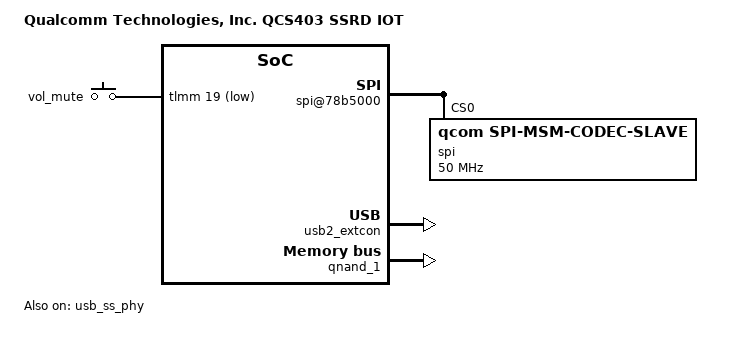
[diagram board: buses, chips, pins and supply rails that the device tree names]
/*
 * Copyright (c) 2018-2019, The Linux Foundation. All rights reserved.
 *
 * This program is free software; you can redistribute it and/or modify
 * it under the terms of the GNU General Public License version 2 and
 * only version 2 as published by the Free Software Foundation.
 *
 * This program is distributed in the hope that it will be useful,
 * but WITHOUT ANY WARRANTY; without even the implied warranty of
 * MERCHANTABILITY or FITNESS FOR A PARTICULAR PURPOSE.  See the
 * GNU General Public License for more details.
 */

/dts-v1/;

#include "qcs403.dtsi"
#include "qcs405-wsa-audio-overlay.dtsi"
#include "qcs405-circular-pca9956.dtsi"

/ {
	model = "Qualcomm Technologies, Inc. QCS403 SSRD IOT";
	compatible = "qcom,qcs403-iot", "qcom,qcs403", "qcom,iot";
	qcom,board-id = <0x010020 0x4>;

};

&soc {
	spi@78b5000 {
		status = "ok";
		spi@0 {
			compatible = "qcom,spi-msm-codec-slave";
			reg = <0>;
			spi-max-frequency = <50000000>;
		};
	};

	gpio_keys {
		vol_mute {
			gpios = <&tlmm 19 GPIO_ACTIVE_LOW>;
		};
	};
};

&qnand_1 {
	status = "ok";
};

&soc {
	usb2_extcon: usb2_extcon {
		compatible = "linux,extcon-usb-gpio";
		vbus-gpio = <&tlmm 27 GPIO_ACTIVE_HIGH>;

		pinctrl-names = "default";
		pinctrl-0 = <&usb2_ssrd_det_default>;
	};
};

&usb2s {
	extcon = <&usb2_extcon>;
};

&usb3 {
	status = "disabled";
};

&usb_ss_phy {
	status = "ok";
	qcom,keep-powerdown;
};

&usb2_phy1 {
	status = "disabled";
};

&tlmm {
	evb_tlmm_gpio_key{
		tlmm_gpio_key_active: tlmm_gpio_key_active {
			mux {
				pins = "gpio19","gpio52","gpio54","gpio115";
			};

			config {
				pins = "gpio19","gpio52","gpio54","gpio115";
			};
		};

		tlmm_gpio_key_suspend: tlmm_gpio_key_suspend {
			mux {
				pins = "gpio19","gpio52","gpio54","gpio115";
			};

			config {
				pins = "gpio19","gpio52","gpio54","gpio115";
			};
		};
	};
};
